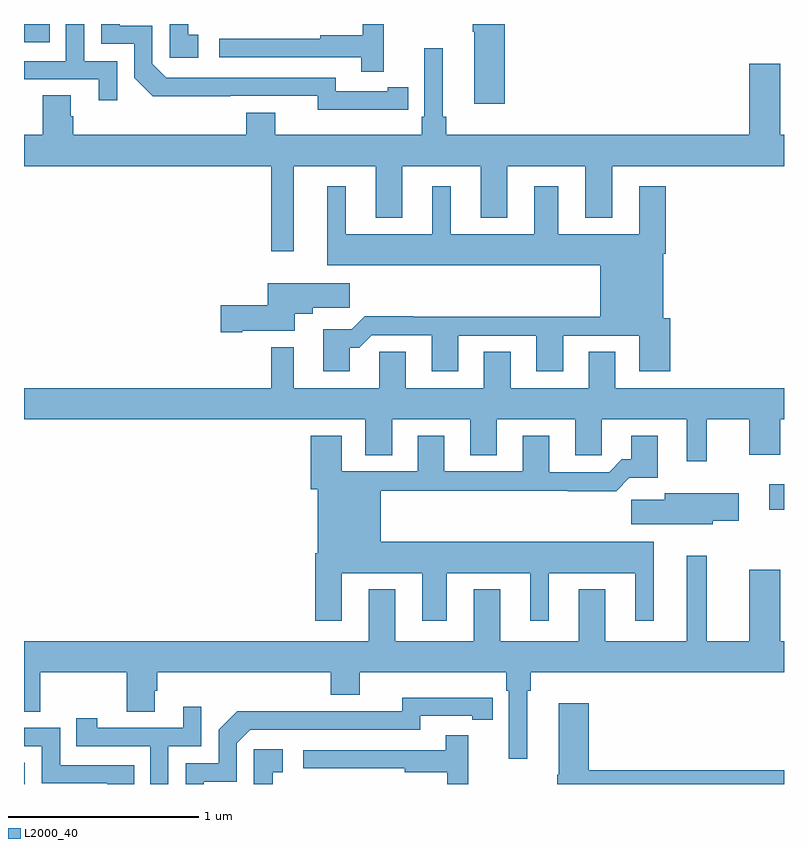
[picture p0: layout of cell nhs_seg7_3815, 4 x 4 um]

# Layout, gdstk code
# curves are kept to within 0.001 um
import gdstk
lib = gdstk.Library(unit=1e-6, precision=1e-09)
def R(c, l, rs):  # rectangles x0, y0, x1, y1
    for r in rs: c.add(gdstk.rectangle(r[:2], r[2:], *l))
def P(c, l, *ps):  # polygons
    for p in ps: c.add(gdstk.Polygon(p, *l))
L2000_40 = (2000, 40)

nhs_seg7_3815 = lib.new_cell('nhs_seg7_3815')
R(nhs_seg7_3815, L2000_40, [(353,1028,353.004,1028.113), (356.922,1029.443,357,1029.577), (353,1031.904,353.135,1032)])
P(nhs_seg7_3815, L2000_40, [(354.893,1032),(354.783,1032),(354.783,1031.942),(354.559,1031.942),(354.559,1031.922),(354.027,1031.922),(354.027,1031.826),(354.775,1031.826),(354.775,1031.748),(354.893,1031.748)],
  [(353.917,1031.943),(353.864,1031.943),(353.864,1032),(353.766,1032),(353.766,1031.823),(353.917,1031.823)],
  [(353.49,1031.805),(353.316,1031.805),(353.316,1032),(353.22,1032),(353.22,1031.805),(353,1031.805),(353,1031.709),(353.393,1031.709),(353.393,1031.598),(353.49,1031.598)],
  [(354.914,1031.55),(355.022,1031.55),(355.022,1031.666),(354.914,1031.666),(354.914,1031.646),(354.642,1031.646),(354.642,1031.718),(353.748,1031.718),(353.676,1031.79),(353.676,1031.991),(353.503,1031.991),(353.503,1032),(353.406,1032),(353.406,1031.895),(353.58,1031.895),(353.58,1031.718),(353.678,1031.621),(354.546,1031.622),(354.546,1031.549)],
  [(355.529,1032),(355.363,1032),(355.363,1031.959),(355.37,1031.959),(355.37,1031.58),(355.529,1031.58)],
  [(354.421,1031.252),(354.851,1031.252),(354.851,1030.979),(354.991,1030.979),(354.991,1031.252),(355.403,1031.252),(355.403,1030.979),(355.543,1030.979),(355.543,1031.252),(355.955,1031.252),(355.955,1030.979),(356.095,1030.979),(356.095,1031.252),(357,1031.252),(357,1031.416),(356.98,1031.416),(356.98,1031.791),(356.816,1031.791),(356.816,1031.416),(355.223,1031.416),(355.223,1031.512),(355.204,1031.512),(355.204,1031.872),(355.107,1031.872),(355.107,1031.512),(355.094,1031.512),(355.094,1031.416),(354.322,1031.416),(354.322,1031.533),(354.17,1031.533),(354.17,1031.416),(353.258,1031.416),(353.258,1031.514),(353.245,1031.514),(353.245,1031.624),(353.098,1031.624),(353.098,1031.416),(353,1031.416),(353,1031.252),(354.3,1031.252),(354.3,1030.803),(354.421,1030.803)],
  [(354.715,1030.295),(354.764,1030.295),(354.831,1030.362),(355.145,1030.362),(355.145,1030.173),(355.285,1030.173),(355.285,1030.359),(355.697,1030.359),(355.697,1030.173),(355.837,1030.173),(355.837,1030.359),(356.237,1030.359),(356.237,1030.173),(356.402,1030.173),(356.402,1030.452),(356.365,1030.452),(356.365,1030.79),(356.378,1030.79),(356.378,1031.146),(356.237,1031.146),(356.237,1030.894),(355.813,1030.894),(355.813,1031.146),(355.685,1031.146),(355.685,1030.894),(355.246,1030.894),(355.246,1031.146),(355.148,1031.146),(355.148,1030.894),(354.694,1030.894),(354.694,1031.146),(354.596,1031.146),(354.596,1030.73),(356.033,1030.73),(356.033,1030.46),(355.049,1030.46),(355.049,1030.463),(354.794,1030.463),(354.724,1030.393),(354.575,1030.393),(354.575,1030.173),(354.715,1030.173)],
  [(354.148,1030.385),(354.424,1030.385),(354.424,1030.475),(354.52,1030.475),(354.52,1030.507),(354.715,1030.507),(354.715,1030.636),(354.284,1030.636),(354.284,1030.52),(354.036,1030.52),(354.036,1030.378),(354.148,1030.378)],
  [(356.593,1029.92),(356.816,1029.92),(356.816,1029.732),(356.98,1029.732),(356.98,1029.92),(357,1029.92),(357,1030.084),(356.113,1030.084),(356.113,1030.274),(355.973,1030.274),(355.973,1030.084),(355.561,1030.084),(355.561,1030.274),(355.421,1030.274),(355.421,1030.084),(355.009,1030.084),(355.009,1030.274),(354.87,1030.274),(354.87,1030.084),(354.421,1030.084),(354.421,1030.3),(354.3,1030.3),(354.3,1030.084),(353,1030.084),(353,1029.92),(354.797,1029.92),(354.797,1029.73),(354.937,1029.73),(354.937,1029.92),(355.349,1029.92),(355.349,1029.73),(355.489,1029.73),(355.489,1029.92),(355.901,1029.92),(355.901,1029.73),(356.04,1029.73),(356.04,1029.92),(356.489,1029.92),(356.489,1029.699),(356.593,1029.699)],
  [(354.673,1029.11),(355.097,1029.11),(355.097,1028.859),(355.225,1028.859),(355.225,1029.11),(355.664,1029.11),(355.664,1028.859),(355.762,1028.859),(355.762,1029.11),(356.216,1029.11),(356.216,1028.859),(356.314,1028.859),(356.314,1029.274),(354.877,1029.274),(354.877,1029.544),(355.861,1029.544),(355.861,1029.542),(356.117,1029.542),(356.186,1029.611),(356.335,1029.611),(356.335,1029.832),(356.195,1029.832),(356.195,1029.709),(356.146,1029.709),(356.079,1029.642),(355.765,1029.642),(355.765,1029.832),(355.625,1029.832),(355.625,1029.645),(355.213,1029.645),(355.213,1029.832),(355.073,1029.832),(355.073,1029.645),(354.673,1029.645),(354.673,1029.832),(354.509,1029.832),(354.509,1029.552),(354.545,1029.552),(354.545,1029.214),(354.533,1029.214),(354.533,1028.859),(354.673,1028.859)],
  [(356.626,1029.386),(356.761,1029.386),(356.761,1029.529),(356.372,1029.529),(356.372,1029.497),(356.196,1029.497),(356.196,1029.368),(356.626,1029.368)],
  [(355.648,1028.492),(355.667,1028.492),(355.667,1028.588),(357,1028.588),(357,1028.752),(356.98,1028.752),(356.98,1029.127),(356.816,1029.127),(356.816,1028.752),(356.593,1028.752),(356.593,1029.202),(356.489,1029.202),(356.489,1028.752),(356.059,1028.752),(356.059,1029.025),(355.919,1029.025),(355.919,1028.752),(355.507,1028.752),(355.507,1029.025),(355.367,1029.025),(355.367,1028.752),(354.955,1028.752),(354.955,1029.025),(354.815,1029.025),(354.815,1028.752),(353,1028.752),(353,1028.38),(353.085,1028.38),(353.085,1028.588),(353.542,1028.588),(353.542,1028.38),(353.689,1028.38),(353.689,1028.49),(353.702,1028.49),(353.702,1028.588),(354.614,1028.588),(354.614,1028.471),(354.766,1028.471),(354.766,1028.588),(355.538,1028.588),(355.538,1028.492),(355.551,1028.492),(355.551,1028.132),(355.648,1028.132)],
  [(353.947,1028.013),(354.12,1028.013),(354.12,1028.214),(354.192,1028.286),(355.086,1028.286),(355.086,1028.358),(355.358,1028.358),(355.358,1028.338),(355.466,1028.338),(355.466,1028.454),(354.99,1028.455),(354.99,1028.382),(354.53,1028.382),(354.53,1028.384),(354.122,1028.384),(354.024,1028.286),(354.024,1028.109),(353.85,1028.109),(353.85,1028),(353.947,1028)],
  [(357,1028.072),(355.973,1028.072),(355.973,1028.425),(355.814,1028.425),(355.814,1028.049),(355.807,1028.049),(355.807,1028),(357,1028)],
  [(353.76,1028.199),(353.934,1028.199),(353.934,1028.407),(353.837,1028.407),(353.837,1028.295),(353.386,1028.295),(353.386,1028.347),(353.275,1028.347),(353.275,1028.199),(353.664,1028.199),(353.664,1028),(353.76,1028)],
  [(353.579,1028.1),(353.19,1028.1),(353.19,1028.295),(353,1028.295),(353,1028.199),(353.094,1028.199),(353.094,1028.004),(353.439,1028.004),(353.439,1028),(353.579,1028)],
  [(355.337,1028.257),(355.219,1028.257),(355.219,1028.178),(354.471,1028.178),(354.471,1028.082),(355.003,1028.082),(355.003,1028.062),(355.227,1028.062),(355.227,1028),(355.337,1028)],
  [(354.308,1028.061),(354.361,1028.061),(354.361,1028.182),(354.21,1028.182),(354.21,1028),(354.308,1028)])

lib.write_gds('nhs_seg7_3815.gds')
